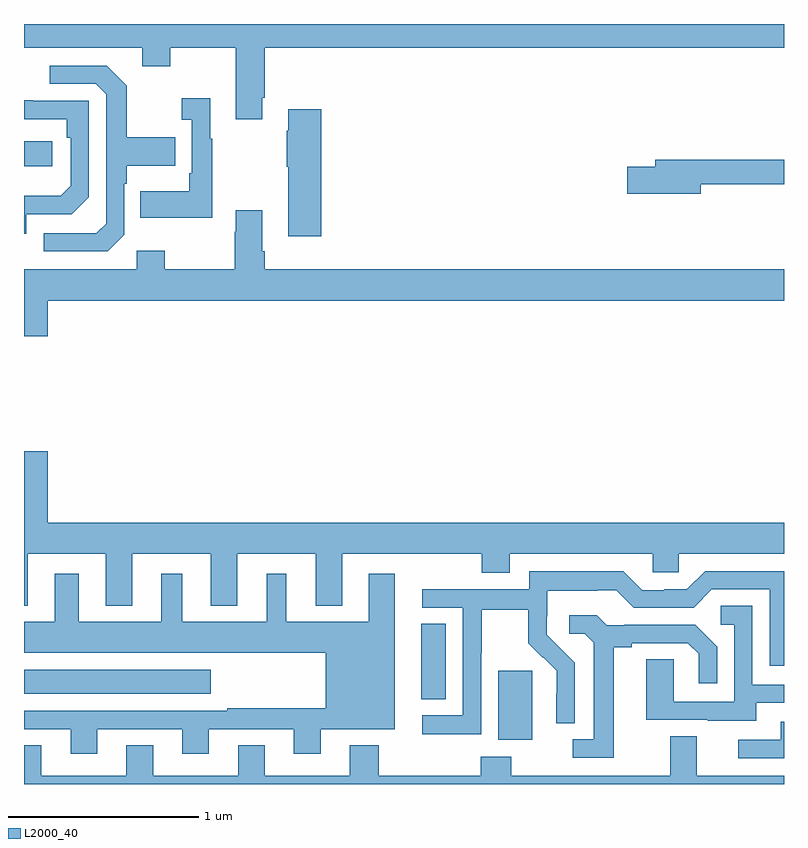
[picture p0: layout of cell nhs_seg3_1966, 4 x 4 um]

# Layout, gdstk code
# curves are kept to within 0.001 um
import gdstk
lib = gdstk.Library(unit=1e-6, precision=1e-09)
def R(c, l, rs):  # rectangles x0, y0, x1, y1
    for r in rs: c.add(gdstk.rectangle(r[:2], r[2:], *l))
def P(c, l, *ps):  # polygons
    for p in ps: c.add(gdstk.Polygon(p, *l))
L2000_40 = (2000, 40)

nhs_seg3_1966 = lib.new_cell('nhs_seg3_1966')
R(nhs_seg3_1966, L2000_40, [(215.495,670.634,215.674,670.995), (215.09,670.846,215.221,671.243), (213,670.874,213.982,671.002), (213,673.652,213.148,673.782)])
P(nhs_seg3_1966, L2000_40, [(214.255,674.011),(214.268,674.011),(214.268,674.276),(217,674.276),(217,674.4),(213,674.4),(213,674.276),(213.623,674.276),(213.623,674.177),(213.771,674.177),(213.771,674.276),(214.115,674.276),(214.115,673.899),(214.255,673.899)],
  [(213.528,673.29),(213.528,673.559),(213.541,673.559),(213.541,673.655),(213.797,673.655),(213.797,673.803),(213.541,673.803),(213.541,674.075),(213.435,674.181),(213.135,674.181),(213.135,674.085),(213.378,674.085),(213.432,674.031),(213.432,673.35),(213.381,673.299),(213.105,673.299),(213.105,673.203),(213.441,673.203)],
  [(213.991,673.795),(213.979,673.795),(213.979,674.008),(213.831,674.008),(213.831,673.895),(213.882,673.895),(213.882,673.615),(213.87,673.615),(213.87,673.519),(213.613,673.519),(213.613,673.379),(213.991,673.379)],
  [(213.012,673.398),(213.252,673.398),(213.342,673.488),(213.342,673.995),(213.047,673.995),(213.047,674),(213,674),(213,673.899),(213.226,673.899),(213.226,673.802),(213.246,673.802),(213.246,673.548),(213.193,673.495),(213,673.495),(213,673.296),(213.012,673.296)],
  [(214.564,673.951),(214.391,673.951),(214.391,673.838),(214.384,673.838),(214.384,673.649),(214.391,673.649),(214.391,673.284),(214.564,673.284)],
  [(216.562,673.557),(217,673.557),(217,673.685),(216.323,673.685),(216.323,673.649),(216.174,673.649),(216.174,673.507),(216.562,673.507)],
  [(213.124,672.944),(217,672.944),(217,673.108),(214.268,673.108),(214.268,673.204),(214.255,673.204),(214.255,673.42),(214.115,673.42),(214.115,673.307),(214.108,673.307),(214.108,673.108),(213.741,673.108),(213.741,673.207),(213.594,673.207),(213.594,673.108),(213,673.108),(213,672.756),(213.124,672.756)],
  [(213.124,672.151),(213,672.151),(213,671.339),(213.019,671.339),(213.019,671.612),(213.431,671.612),(213.431,671.339),(213.571,671.339),(213.571,671.612),(213.983,671.612),(213.983,671.339),(214.123,671.339),(214.123,671.612),(214.535,671.612),(214.535,671.339),(214.675,671.339),(214.675,671.612),(215.41,671.612),(215.41,671.513),(215.557,671.513),(215.557,671.612),(216.309,671.612),(216.309,671.514),(216.447,671.514),(216.447,671.612),(217,671.612),(217,671.776),(213.124,671.776)],
  [(215.406,671.092),(215.409,671.092),(215.409,671.316),(215.653,671.316),(215.653,671.141),(215.73,671.064),(215.733,671.067),(215.804,670.997),(215.804,670.874),(215.802,670.874),(215.802,670.72),(215.898,670.72),(215.898,671.038),(215.752,671.186),(215.752,671.283),(215.754,671.283),(215.754,671.417),(216.017,671.417),(216.017,671.421),(216.117,671.421),(216.21,671.328),(216.525,671.328),(216.621,671.424),(216.924,671.424),(216.924,671.022),(217,671.022),(217,671.52),(216.585,671.52),(216.489,671.424),(216.371,671.424),(216.371,671.421),(216.255,671.421),(216.155,671.521),(215.658,671.521),(215.658,671.424),(215.097,671.424),(215.097,671.328),(215.31,671.328),(215.31,670.761),(215.097,670.761),(215.097,670.663),(215.406,670.663)],
  [(213.385,670.689),(213.833,670.689),(213.833,670.56),(213.973,670.56),(213.973,670.689),(214.421,670.689),(214.421,670.56),(214.561,670.56),(214.561,670.688),(214.951,670.688),(214.951,671.506),(214.814,671.506),(214.814,671.254),(214.381,671.254),(214.381,671.506),(214.277,671.506),(214.277,671.254),(213.832,671.254),(213.832,671.506),(213.722,671.506),(213.722,671.254),(213.289,671.254),(213.289,671.506),(213.161,671.506),(213.161,671.254),(213,671.254),(213,671.09),(214.589,671.09),(214.589,670.798),(214.069,670.798),(214.069,670.785),(213,670.785),(213,670.689),(213.245,670.689),(213.245,670.56),(213.385,670.56)],
  [(216.853,670.827),(217,670.827),(217,670.923),(216.834,670.923),(216.834,671.339),(216.666,671.339),(216.666,671.238),(216.738,671.238),(216.738,670.833),(216.42,670.833),(216.42,671.057),(216.275,671.057),(216.275,670.737),(216.599,670.737),(216.599,670.733),(216.853,670.733)],
  [(216.103,671.12),(216.199,671.12),(216.199,671.142),(216.494,671.142),(216.551,671.085),(216.551,670.929),(216.648,670.929),(216.648,671.122),(216.532,671.238),(216.16,671.238),(216.16,671.235),(216.066,671.235),(216.014,671.287),(215.871,671.287),(215.871,671.19),(215.952,671.19),(215.999,671.143),(215.999,670.635),(215.889,670.635),(215.889,670.539),(216.103,670.539)],
  [(217,670.728),(216.983,670.728),(216.983,670.632),(216.759,670.632),(216.759,670.536),(217,670.536)],
  [(213.539,670.604),(213.539,670.444),(213.091,670.444),(213.091,670.604),(213,670.604),(213,670.4),(217,670.4),(217,670.444),(216.541,670.444),(216.541,670.652),(216.401,670.652),(216.401,670.444),(215.565,670.444),(215.565,670.543),(215.405,670.543),(215.405,670.444),(214.868,670.444),(214.868,670.603),(214.715,670.603),(214.715,670.444),(214.267,670.444),(214.267,670.604),(214.127,670.604),(214.127,670.444),(213.679,670.444),(213.679,670.604)])

lib.write_gds('nhs_seg3_1966.gds')
